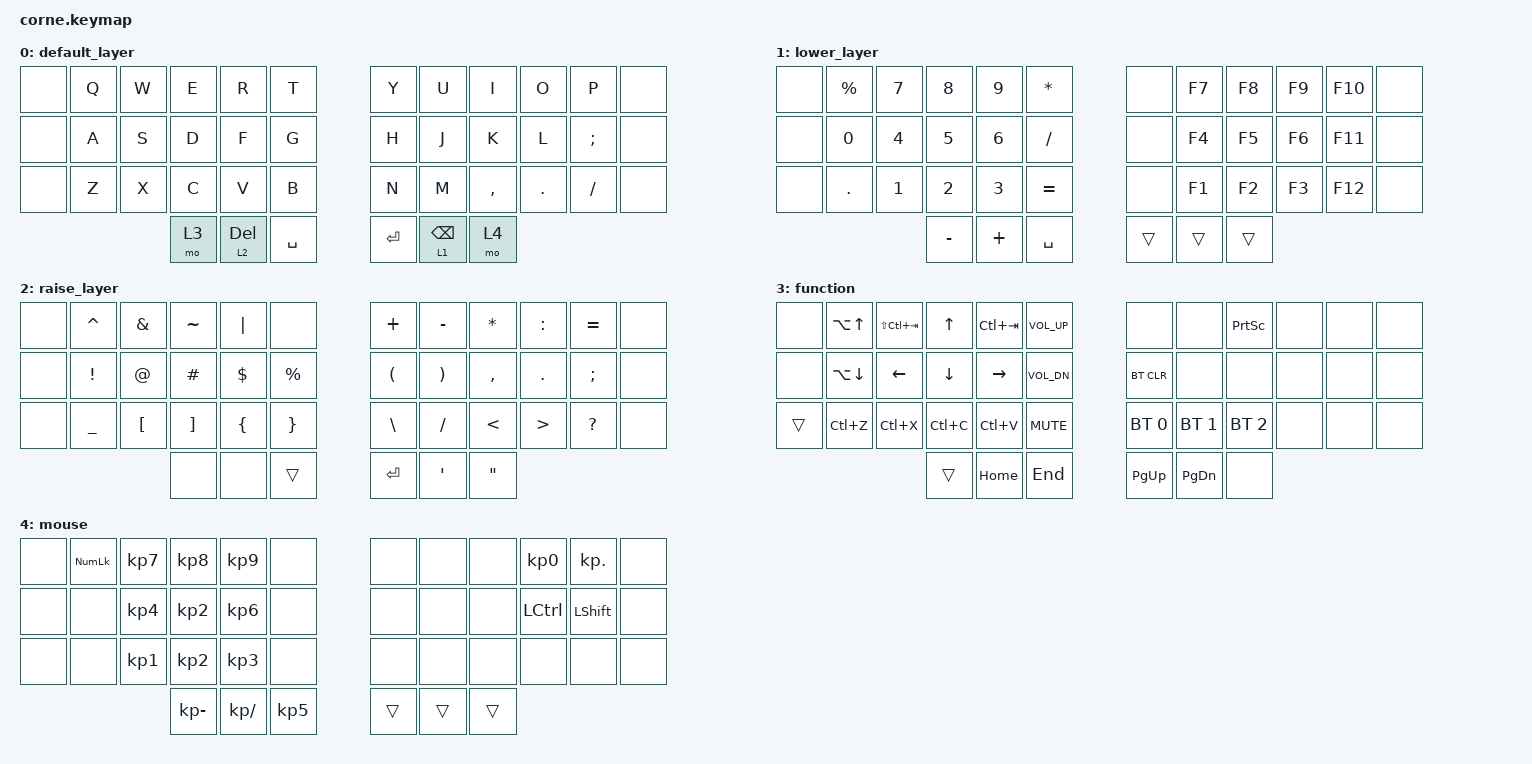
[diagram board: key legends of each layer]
/*
 * Copyright (c) 2020 The ZMK Contributors
 *
 * SPDX-License-Identifier: MIT
 */

#include <behaviors.dtsi>
#include <dt-bindings/zmk/bt.h>
#include <dt-bindings/zmk/keys.h>

/ {
    combos {
        compatible = "zmk,combos";

        cmb_bsp {
            bindings = <&kp LC(BACKSPACE)>;
            key-positions = <7 6>;
            layers = <0>;
        };

        cmb_select_up {
            bindings = <&kp LC(LS(UP_ARROW))>;
            key-positions = <3 4>;
            layers = <3>;
        };

        cmb_select_right {
            bindings = <&kp LC(LS(RIGHT))>;
            key-positions = <16 15>;
            layers = <3>;
        };

        cmb_select_left {
            bindings = <&kp LC(LS(LEFT))>;
            key-positions = <14 15>;
            layers = <3>;
        };

        cmb_select_down {
            bindings = <&kp LS(LC(DOWN_ARROW))>;
            key-positions = <27 28>;
            layers = <3>;
        };

        cmb_esc {
            bindings = <&kp LC(LEFT_SHIFT)>;
            key-positions = <1 2>;
            layers = <0>;
        };

        cmb_del {
            bindings = <&kp DELETE>;
            key-positions = <10 9>;
            layers = <0>;
        };

        cmb_del_fwd_del {
            bindings = <&kp LC(DEL)>;
            key-positions = <9 8>;
            layers = <0>;
        };

        cmb_left_ctrl {
            bindings = <&kp LCTRL>;
            key-positions = <16 15>;
            layers = <0 1>;
        };

        cmb_left_shift {
            bindings = <&sk LEFT_SHIFT>;
            key-positions = <14 15>;
            layers = <0 1>;
        };

        cmb_left_alt {
            bindings = <&kp LEFT_ALT>;
            key-positions = <27 28>;
            layers = <0 1>;
        };

        cmb_left_gui {
            bindings = <&kp LEFT_WIN>;
            key-positions = <26 27>;
            layers = <0 1>;
        };

        cmb_right_ctrl {
            bindings = <&kp RIGHT_CONTROL>;
            key-positions = <19 20>;
            layers = <0 1>;
        };

        cmb_right_shift {
            bindings = <&sk LEFT_SHIFT>;
            key-positions = <20 21>;
            layers = <0 1>;
        };

        cmb_right_alt {
            bindings = <&kp RIGHT_ALT>;
            key-positions = <31 32>;
            layers = <0 1>;
        };

        cmb_right_gui {
            bindings = <&kp RIGHT_GUI>;
            key-positions = <32 33>;
            layers = <0 1>;
        };

        cmb_mo_3 {
            bindings = <&mo 3>;
            key-positions = <19 21>;
            layers = <0>;
        };

        cmb_quick_caps {
            bindings = <&caps_word>;
            key-positions = <16 14>;
            layers = <0>;
        };

        cmb_quick_bsp {
            bindings = <&kp BACKSPACE>;
            key-positions = <7 8>;
            layers = <0>;
        };

        cmb_quick_tab {
            bindings = <&kp TAB>;
            key-positions = <3 4>;
            layers = <0>;
        };

        cmb_quick_shift_tab {
            bindings = <&kp LS(TAB)>;
            key-positions = <2 3>;
            layers = <0>;
        };

        cmb_period {
            bindings = <&kp PERIOD>;
            key-positions = <16 19>;
            layers = <0>;
        };

        cmb_repeat {
            bindings = <&key_repeat>;
            key-positions = <38 39>;
            layers = <0>;
        };

        cmb_quest {
            bindings = <&kp QUESTION>;
            key-positions = <4 7>;
        };

        cmb_excla {
            bindings = <&kp EXCLAMATION>;
            key-positions = <3 8>;
        };

        cmb_comma {
            bindings = <&kp COMMA>;
            key-positions = <28 31>;
        };

        cmb_dash {
            bindings = <&kp MINUS>;
            key-positions = <15 20>;
        };
    };

    keymap {
        compatible = "zmk,keymap";

        default_layer {
            // -----------------------------------------------------------------------------------------
            // |  TAB |  Q  |  W  |  E  |  R  |  T  |   |  Y  |  U   |  I  |  O  |  P  | BKSP |
            // | CTRL |  A  |  S  |  D  |  F  |  G  |   |  H  |  J   |  K  |  L  |  ;  |  '   |
            // | SHFT |  Z  |  X  |  C  |  V  |  B  |   |  N  |  M   |  ,  |  .  |  /  | ESC  |
            //                    | GUI | LWR | SPC |   | ENT | RSE  | ALT |

            bindings = <
&none  &kp Q  &kp W  &kp E  &kp R      &kp T        &kp Y    &kp U            &kp I      &kp O    &kp P          &none
&none  &kp A  &kp S  &kp D  &kp F      &kp G        &kp H    &kp J            &kp K      &kp L    &kp SEMICOLON  &none
&none  &kp Z  &kp X  &kp C  &kp V      &kp B        &kp N    &kp M            &kp COMMA  &kp DOT  &kp FSLH       &none
                     &mo 3  &lt 2 DEL  &kp SPACE    &kp RET  &lt 1 BACKSPACE  &mo 4
            >;
        };

        lower_layer {
            // -----------------------------------------------------------------------------------------
            // |  TAB |  1  |  2  |  3  |  4  |  5  |   |  6  |  7  |  8  |  9  |  0  | BKSP |
            // | BTCLR| BT1 | BT2 | BT3 | BT4 | BT5 |   | LFT | DWN |  UP | RGT |     |      |
            // | SHFT |     |     |     |     |     |   |     |     |     |     |     |      |
            //                    | GUI |     | SPC |   | ENT |     | ALT |

            bindings = <
&none  &kp PERCENT   &kp NUMBER_7  &kp NUMBER_8  &kp NUMBER_9  &kp ASTRK    &none   &kp F7  &kp F8  &kp F9  &kp F10  &none
&none  &kp NUMBER_0  &kp NUMBER_4  &kp NUMBER_5  &kp NUMBER_6  &kp SLASH    &none   &kp F4  &kp F5  &kp F6  &kp F11  &none
&none  &kp DOT       &kp NUMBER_1  &kp NUMBER_2  &kp NUMBER_3  &kp EQUAL    &none   &kp F1  &kp F2  &kp F3  &kp F12  &none
                                   &kp MINUS     &kp PLUS      &kp SPACE    &trans  &trans  &trans
            >;
        };

        raise_layer {
            // -----------------------------------------------------------------------------------------
            // |  TAB |  !  |  @  |  #  |  $  |  %  |   |  ^  |  &  |  *  |  (  |  )  | BKSP |
            // | CTRL |     |     |     |     |     |   |  -  |  =  |  [  |  ]  |  \  |  `   |
            // | SHFT |     |     |     |     |     |   |  _  |  +  |  {  |  }  | "|" |  ~   |
            //                    | GUI |     | SPC |   | ENT |     | ALT |

            bindings = <
&none  &kp CARET        &kp AMPERSAND     &kp TILDE          &kp PIPE        &none              &kp PLUS              &kp MINUS              &kp ASTERISK       &kp COLON         &kp EQUAL      &none
&none  &kp EXCLAMATION  &kp AT_SIGN       &kp HASH           &kp DOLLAR      &kp PERCENT        &kp LEFT_PARENTHESIS  &kp RIGHT_PARENTHESIS  &kp COMMA          &kp PERIOD        &kp SEMICOLON  &none
&none  &kp UNDERSCORE   &kp LEFT_BRACKET  &kp RIGHT_BRACKET  &kp LEFT_BRACE  &kp RIGHT_BRACE    &kp BACKSLASH         &kp SLASH              &kp LESS_THAN      &kp GREATER_THAN  &kp QUESTION   &none
                                          &none              &none           &trans             &kp RET               &kp SQT                &kp DOUBLE_QUOTES
            >;
        };

        function {
            bindings = <
&none   &kp LA(UP_ARROW)    &kp LS(LC(TAB))  &kp UP_ARROW    &kp LC(TAB)  &kp C_VOLUME_UP    &none         &none         &kp PRINTSCREEN  &none  &none  &none
&none   &kp LA(DOWN_ARROW)  &kp LEFT_ARROW   &kp DOWN_ARROW  &kp RIGHT    &kp C_VOL_DN       &bt BT_CLR    &none         &none            &none  &none  &none
&trans  &kp LC(Z)           &kp LC(X)        &kp LC(C)       &kp LC(V)    &kp C_MUTE         &bt BT_SEL 0  &bt BT_SEL 1  &bt BT_SEL 2     &none  &none  &none
                                             &trans          &kp HOME     &kp END            &kp PAGE_UP   &kp PG_DN     &none
            >;
        };

        mouse {
            bindings = <
&none  &kp KP_NUMLOCK  &kp KP_NUMBER_7  &kp KP_NUMBER_8  &kp KP_NUMBER_9  &none              &none   &none   &none   &kp KP_N0  &kp KP_DOT      &none
&none  &none           &kp KP_NUMBER_4  &kp KP_NUMBER_2  &kp KP_NUMBER_6  &none              &none   &none   &none   &kp LCTRL  &kp LEFT_SHIFT  &none
&none  &none           &kp KP_NUMBER_1  &kp KP_NUMBER_2  &kp KP_NUMBER_3  &none              &none   &none   &none   &none      &none           &none
                                        &kp KP_MINUS     &kp KP_DIVIDE    &kp KP_NUMBER_5    &trans  &trans  &trans
            >;
        };
    };
};
